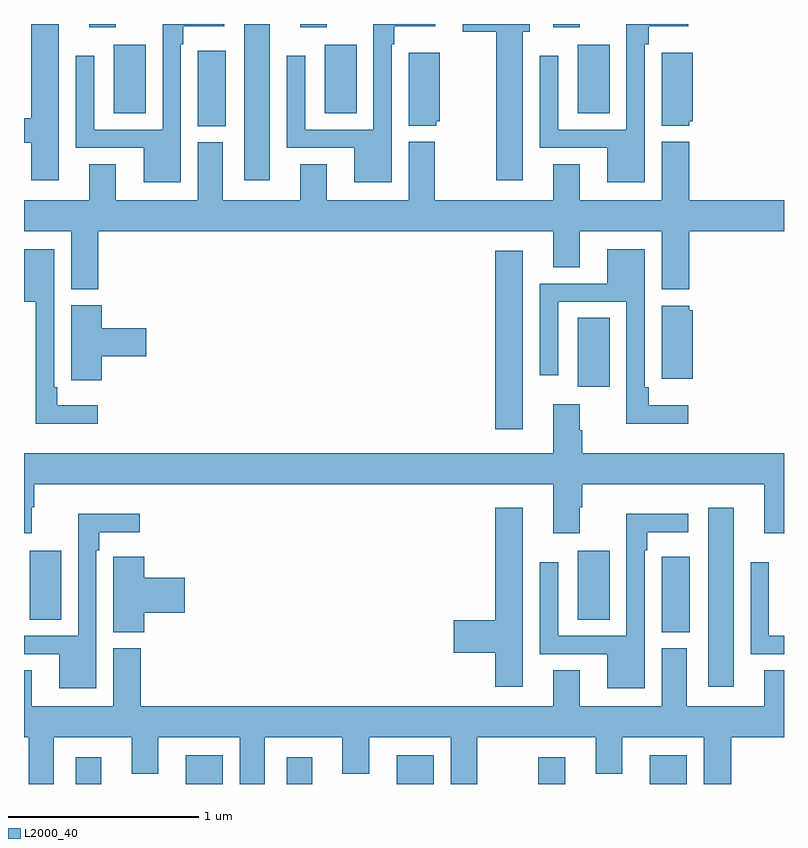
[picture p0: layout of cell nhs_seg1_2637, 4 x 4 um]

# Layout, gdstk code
import gdstk
lib = gdstk.Library(unit=1e-6, precision=1e-09)
def R(c, l, rs):  # rectangles x0, y0, x1, y1
    for r in rs: c.add(gdstk.rectangle(r[:2], r[2:], *l))
def P(c, l, *ps):  # polygons
    for p in ps: c.add(gdstk.Polygon(p, *l))
L2000_40 = (2000, 40)

nhs_seg1_2637 = lib.new_cell('nhs_seg1_2637')
R(nhs_seg1_2637, L2000_40, [(255.272,506.199,255.406,506.341), (255.851,506.199,256.047,506.35), (256.382,506.199,256.516,506.341), (256.961,506.199,257.157,506.35), (257.707,506.199,257.848,506.341), (258.293,506.199,258.489,506.35), (258.602,506.712,258.736,507.652), (258.356,506.998,258.505,507.394), (255.029,507.064,255.196,507.427), (257.915,507.064,258.082,507.427), (257.48,508.065,257.626,509.005), (257.915,508.29,258.082,508.652), (256.16,509.376,256.294,510.199), (255.914,509.662,256.063,510.058), (255.473,509.728,255.64,510.091), (256.583,509.728,256.75,510.091), (257.915,509.728,258.082,510.091), (255.344,510.183,255.484,510.199), (256.454,510.183,256.594,510.199), (257.786,510.183,257.926,510.199)])
P(nhs_seg1_2637, L2000_40, [(255.825,510.092),(255.838,510.092),(255.838,510.188),(256.054,510.188),(256.054,510.199),(255.729,510.199),(255.729,509.643),(255.369,509.643),(255.369,510.031),(255.273,510.031),(255.273,509.547),(255.629,509.547),(255.629,509.366),(255.825,509.366)],
  [(256.935,510.092),(256.948,510.092),(256.948,510.188),(257.164,510.188),(257.164,510.199),(256.839,510.199),(256.839,509.643),(256.479,509.643),(256.479,510.031),(256.383,510.031),(256.383,509.547),(256.739,509.547),(256.739,509.366),(256.935,509.366)],
  [(258.267,510.092),(258.287,510.092),(258.287,510.188),(258.496,510.188),(258.496,510.199),(258.171,510.199),(258.171,509.643),(257.811,509.643),(257.811,510.031),(257.715,510.031),(257.715,509.547),(258.071,509.547),(258.071,509.366),(258.267,509.366)],
  [(257.626,510.158),(257.662,510.158),(257.662,510.199),(257.31,510.199),(257.31,510.158),(257.485,510.158),(257.485,509.376),(257.626,509.376)],
  [(255.184,510.199),(255.038,510.199),(255.038,509.702),(255,509.702),(255,509.574),(255.038,509.574),(255.038,509.376),(255.184,509.376)],
  [(258.501,509.688),(258.52,509.688),(258.52,510.049),(258.356,510.049),(258.356,509.663),(258.501,509.663)],
  [(257.169,509.688),(257.188,509.688),(257.188,510.049),(257.024,510.049),(257.024,509.663),(257.169,509.663)],
  [(258.5,509.108),(259,509.108),(259,509.272),(258.5,509.272),(258.5,509.578),(258.356,509.578),(258.356,509.272),(257.926,509.272),(257.926,509.462),(257.786,509.462),(257.786,509.272),(257.163,509.272),(257.163,509.578),(257.024,509.578),(257.024,509.272),(256.594,509.272),(256.594,509.462),(256.454,509.462),(256.454,509.272),(256.045,509.272),(256.045,509.577),(255.914,509.577),(255.914,509.272),(255.484,509.272),(255.484,509.462),(255.344,509.462),(255.344,509.272),(255,509.272),(255,509.108),(255.248,509.108),(255.248,508.804),(255.392,508.804),(255.392,509.108),(257.786,509.108),(257.786,508.918),(257.926,508.918),(257.926,509.108),(258.356,509.108),(258.356,508.802),(258.5,508.802)],
  [(258.496,508.192),(258.287,508.192),(258.287,508.288),(258.267,508.288),(258.267,509.014),(258.071,509.014),(258.071,508.833),(257.715,508.833),(257.715,508.35),(257.811,508.35),(257.811,508.737),(258.171,508.737),(258.171,508.094),(258.496,508.094)],
  [(255.388,508.192),(255.175,508.192),(255.175,508.288),(255.159,508.288),(255.159,509.014),(255,509.014),(255,508.737),(255.063,508.737),(255.063,508.094),(255.388,508.094)],
  [(255.41,508.451),(255.643,508.451),(255.643,508.598),(255.41,508.598),(255.41,508.719),(255.248,508.719),(255.248,508.435),(255.249,508.435),(255.249,508.323),(255.41,508.323)],
  [(258.52,508.692),(258.501,508.692),(258.501,508.717),(258.356,508.717),(258.356,508.331),(258.52,508.331)],
  [(255.04,507.656),(255.053,507.656),(255.053,507.776),(257.786,507.776),(257.786,507.519),(257.926,507.519),(257.926,507.656),(257.939,507.656),(257.939,507.776),(258.896,507.776),(258.896,507.519),(259,507.519),(259,507.94),(257.939,507.94),(257.939,508.061),(257.926,508.061),(257.926,508.198),(257.786,508.198),(257.786,507.94),(255,507.94),(255,507.519),(255.04,507.519)],
  [(257.626,507.652),(257.48,507.652),(257.48,507.062),(257.262,507.062),(257.262,506.891),(257.48,506.891),(257.48,506.712),(257.626,506.712)],
  [(255.381,507.428),(255.397,507.428),(255.397,507.524),(255.61,507.524),(255.61,507.622),(255.285,507.622),(255.285,506.979),(255,506.979),(255,506.883),(255.185,506.883),(255.185,506.702),(255.381,506.702)],
  [(258.267,507.428),(258.279,507.428),(258.279,507.524),(258.496,507.524),(258.496,507.622),(258.171,507.622),(258.171,506.979),(257.811,506.979),(257.811,507.367),(257.715,507.367),(257.715,506.883),(258.071,506.883),(258.071,506.702),(258.267,506.702)],
  [(255.632,507.101),(255.847,507.101),(255.847,507.284),(255.632,507.284),(255.632,507.394),(255.471,507.394),(255.471,507.281),(255.47,507.281),(255.47,506.998),(255.632,506.998)],
  [(259,506.979),(258.921,506.979),(258.921,507.367),(258.825,507.367),(258.825,506.883),(259,506.883)],
  [(255.614,506.913),(255.47,506.913),(255.47,506.608),(255.04,506.608),(255.04,506.798),(255,506.798),(255,506.444),(255.026,506.444),(255.026,506.199),(255.157,506.199),(255.157,506.444),(255.566,506.444),(255.566,506.254),(255.706,506.254),(255.706,506.444),(256.136,506.444),(256.136,506.199),(256.267,506.199),(256.267,506.444),(256.676,506.444),(256.676,506.254),(256.816,506.254),(256.816,506.444),(257.246,506.444),(257.246,506.199),(257.385,506.199),(257.385,506.444),(258.008,506.444),(258.008,506.254),(258.148,506.254),(258.148,506.444),(258.578,506.444),(258.578,506.199),(258.722,506.199),(258.722,506.444),(259,506.444),(259,506.798),(258.896,506.798),(258.896,506.608),(258.487,506.608),(258.487,506.913),(258.356,506.913),(258.356,506.608),(257.926,506.608),(257.926,506.798),(257.786,506.798),(257.786,506.608),(255.614,506.608)])

lib.write_gds('nhs_seg1_2637.gds')
